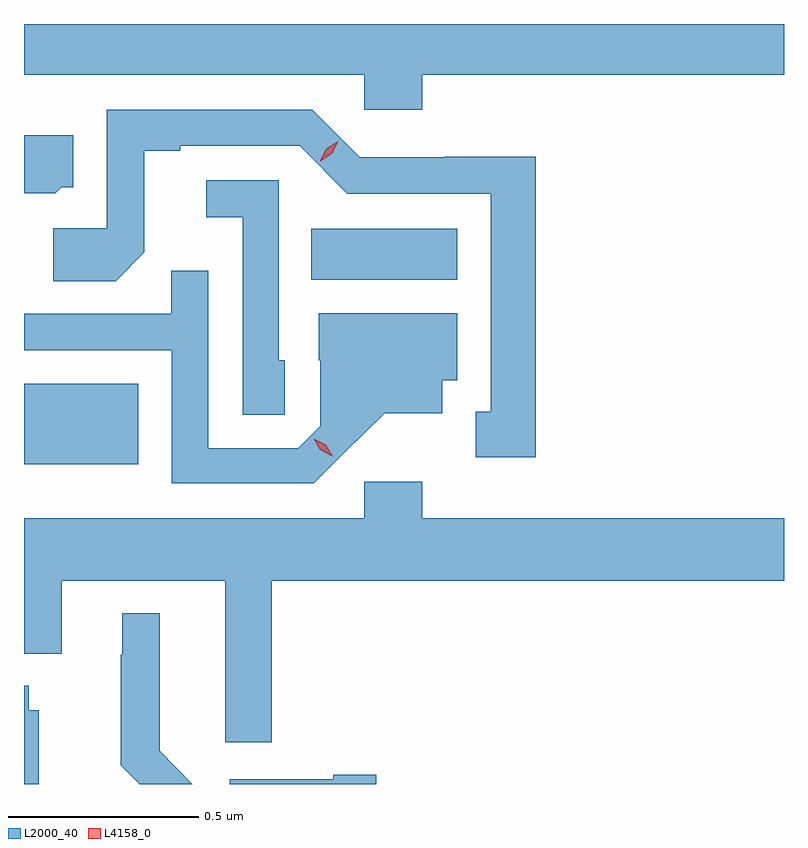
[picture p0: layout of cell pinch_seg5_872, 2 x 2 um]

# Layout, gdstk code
import gdstk
lib = gdstk.Library(unit=1e-6, precision=1e-09)
def R(c, l, rs):  # rectangles x0, y0, x1, y1
    for r in rs: c.add(gdstk.rectangle(r[:2], r[2:], *l))
def P(c, l, *ps):  # polygons
    for p in ps: c.add(gdstk.Polygon(p, *l))
L2000_40 = (2000, 40)
L4158_0 = (4158, 0)

pinch_seg5_872 = lib.new_cell('pinch_seg5_872')
R(pinch_seg5_872, L2000_40, [(782.854,890.366,783.154,890.578), (783.61,890.852,783.994,890.986)])
P(pinch_seg5_872, L2000_40, [(783.902,891.392),(784.854,891.392),(784.854,891.525),(782.854,891.525),(782.854,891.392),(783.75,891.392),(783.75,891.299),(783.902,891.299)],
  [(784.201,891.176),(783.96,891.176),(783.96,891.174),(783.738,891.174),(783.612,891.3),(783.072,891.3),(783.072,890.988),(782.931,890.988),(782.931,890.848),(783.095,890.848),(783.171,890.924),(783.171,891.192),(783.265,891.192),(783.265,891.204),(783.579,891.204),(783.705,891.078),(784.082,891.078),(784.082,890.505),(784.043,890.505),(784.043,890.385),(784.201,890.385)],
  [(782.952,891.096),(782.983,891.096),(782.983,891.232),(782.854,891.232),(782.854,891.08),(782.936,891.08)],
  [(783.54,890.64),(783.525,890.64),(783.525,891.114),(783.333,891.114),(783.333,891.017),(783.429,891.017),(783.429,890.497),(783.54,890.497)],
  [(783.7,890.399),(783.803,890.501),(783.955,890.501),(783.955,890.588),(783.994,890.588),(783.994,890.764),(783.629,890.764),(783.629,890.64),(783.633,890.64),(783.633,890.466),(783.576,890.409),(783.339,890.409),(783.339,890.876),(783.241,890.876),(783.241,890.763),(782.854,890.763),(782.854,890.667),(783.243,890.667),(783.243,890.316),(783.616,890.316)],
  [(783.506,890.06),(784.854,890.06),(784.854,890.224),(783.902,890.224),(783.902,890.32),(783.75,890.32),(783.75,890.224),(782.854,890.224),(782.854,889.868),(782.953,889.868),(782.953,890.06),(783.383,890.06),(783.383,889.635),(783.506,889.635)],
  [(783.781,889.55),(783.668,889.55),(783.668,889.537),(783.396,889.537),(783.396,889.525),(783.781,889.525)],
  [(782.893,889.719),(782.866,889.719),(782.866,889.783),(782.854,889.783),(782.854,889.525),(782.893,889.525)],
  [(783.211,889.975),(783.113,889.975),(783.113,889.865),(783.109,889.865),(783.109,889.574),(783.158,889.525),(783.297,889.525),(783.211,889.612)])
P(pinch_seg5_872, L4158_0, [(783.633,891.164),(783.633,891.164),(783.65,891.197),(783.681,891.216),(783.681,891.216),(783.681,891.216),(783.664,891.183),(783.633,891.164)],
  [(783.665,890.388),(783.634,890.404),(783.616,890.433),(783.616,890.433),(783.617,890.433),(783.648,890.418),(783.665,890.389),(783.665,890.388)])

lib.write_gds('pinch_seg5_872.gds')
